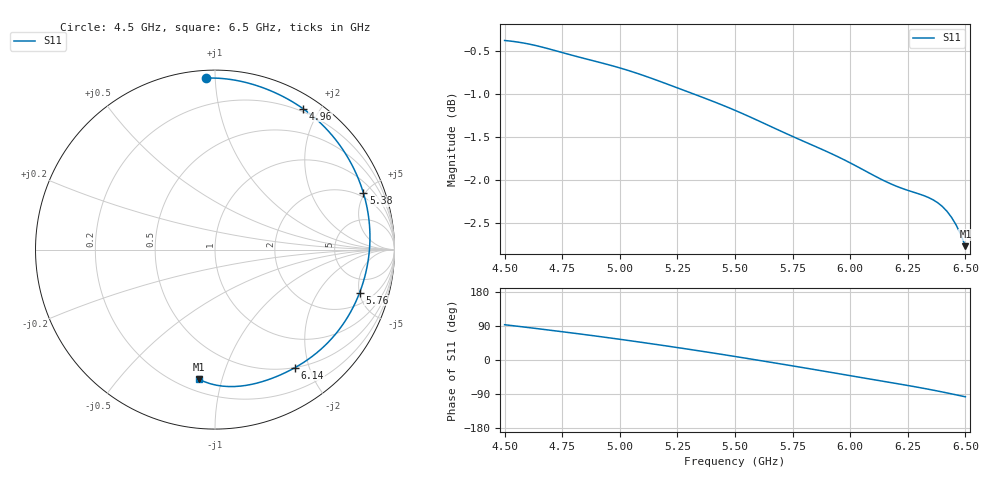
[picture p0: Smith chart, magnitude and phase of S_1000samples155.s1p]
! TOUCHSTONE file generated by CST MICROWAVE STUDIO
! Date and time: Thu Oct 27 04:35:10 2022
! Project name: L.cst
! Parameters = {Di=1.27; Epsilon_r=1.56; InnerDiameter=1.27; Length=2; Lf=10; Lg=60; OuterConductorThickness=0.2921; OuterDiameter=3.6; Wf=3; Wp=41.2; de=1.5; df=6.8; g=0.8; gx=1.86334; gy=4.06463; h=2.34; hf=1.524; px=8.37906; py=13.5185; w=9.7; wx=6.51573; wy=9.45383}
! Header version: 2018
! Port assignment regex: !\s*Touchstone port\s*([0-9]+)\s*=\s*(CST MWS port|CST DS port)\s*([0-9]+|Zmin|Zmax)\s*\(\"(.*)\"\)(\s*mode\s*([0-9]+))?.*
! Touchstone port assignment:
! Touchstone port 1 = CST MWS port 1 ("")
# GHz S DB R 50
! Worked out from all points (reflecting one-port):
!   101 points, 4.5 GHz to 6.5 GHz, reference 50 ohm
!   lowest |S11| = -2.8 dB at 6.5 GHz (marker M1), VSWR 6.33, Z = 13.8 - j42.2 ohm
!   phase of S11 starts at 93 deg and turns -190 deg over the sweep
!   S11 on the Smith chart (normalised r, x): 4.5 GHz: 0.04, +0.95; 4.96 GHz: 0.16, +1.79; 5.38 GHz: 1.69, +4.89; 5.76 GHz: 3.07, -5.03; 6.14 GHz: 0.50, -1.78; 6.5 GHz: 0.28, -0.84
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4.5  -0.38 93.1
4.62  -0.43 84.4
4.68  -0.47 79.9
4.76  -0.53 73.9
4.86  -0.60 66.1
4.96  -0.67 58.0
5  -0.70 54.7
5.12  -0.80 44.4
5.2  -0.88 37.3
5.26  -0.94 31.9
5.38  -1.06 20.8
5.44  -1.13 15.1
5.5  -1.19 9.3
5.56  -1.26 3.4
5.62  -1.34 -2.5
5.68  -1.41 -8.5
5.76  -1.51 -16.6
5.82  -1.58 -22.7
5.88  -1.65 -28.9
5.94  -1.72 -35.1
6  -1.80 -41.3
6.06  -1.89 -47.6
6.14  -2.00 -55.8
6.26  -2.13 -68.3
6.34  -2.20 -77.2
6.4  -2.31 -84.4
6.46  -2.52 -92.0
6.5  -2.77 -97.1
